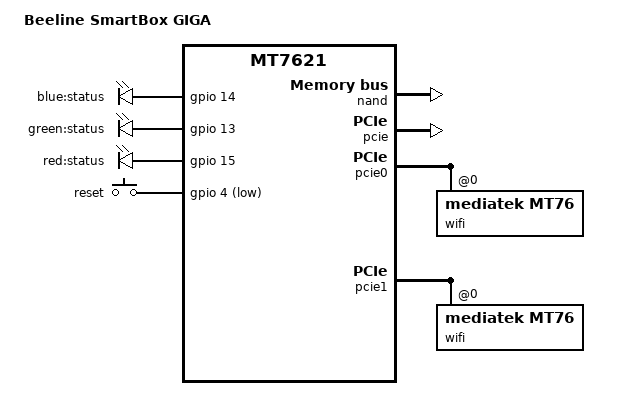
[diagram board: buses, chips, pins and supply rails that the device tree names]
// SPDX-License-Identifier: GPL-2.0-or-later OR MIT

#include "mt7621.dtsi"

#include <dt-bindings/gpio/gpio.h>
#include <dt-bindings/input/input.h>

/ {
	compatible = "beeline,smartbox-giga", "mediatek,mt7621-soc";
	model = "Beeline SmartBox GIGA";

	aliases {
		led-boot = &led_status_blue;
		led-failsafe = &led_status_red;
		led-running = &led_status_green;
		led-upgrade = &led_status_red;
		label-mac-device = &gmac0;
	};

	leds {
		compatible = "gpio-leds";

		led_status_blue: status_blue {
			label = "blue:status";
			gpios = <&gpio 14 GPIO_ACTIVE_HIGH>;
		};

		led_status_green: status_green {
			label = "green:status";
			gpios = <&gpio 13 GPIO_ACTIVE_HIGH>;
		};

		led_status_red: status_red {
			label = "red:status";
			gpios = <&gpio 15 GPIO_ACTIVE_HIGH>;
		};
	};

	keys {
		compatible = "gpio-keys";

		reset {
			label = "reset";
			gpios = <&gpio 4 GPIO_ACTIVE_LOW>;
			linux,code = <KEY_RESTART>;
		};
	};
};

&nand {
	status = "okay";

	partitions {
		compatible = "fixed-partitions";
		#address-cells = <1>;
		#size-cells = <1>;

		partition@0 {
			label = "u-boot";
			reg = <0x0 0x100000>;
			read-only;
		};

		partition@100000 {
			label = "dynamic partition map";
			reg = <0x100000 0x100000>;
		};

		factory: partition@200000 {
			label = "Factory";
			reg = <0x200000 0x100000>;
			read-only;
		};

		partition@300000 {
			label = "Boot Flag";
			reg = <0x300000 0x100000>;
		};

		partition@400000 {
			label = "kernel";
			reg = <0x400000 0x600000>;
		};

		partition@a00000 {
			label = "Kernel 2";
			reg = <0xa00000 0x600000>;
			read-only;
		};

		partition@1000000 {
			label = "ubi";
			reg = <0x1000000 0x6c00000>;
		};

		partition@7c00000 {
			label = "bad block reserved";
			reg = <0x7c00000 0x380000>;
			read-only;
		};
	};
};

&pcie {
	status = "okay";
};

&pcie0 {
	wifi@0,0 {
		compatible = "mediatek,mt76";
		reg = <0x0000 0 0 0 0>;
		mediatek,mtd-eeprom = <&factory 0x8000>;
		mtd-mac-address = <&factory 0x21000>;
		mtd-mac-address-increment = <5>;
		ieee80211-freq-limit = <5000000 6000000>;
	};
};

&pcie1 {
	wifi@0,0 {
		compatible = "mediatek,mt76";
		reg = <0x0000 0 0 0 0>;
		mediatek,mtd-eeprom = <&factory 0x0000>;
		mtd-mac-address = <&factory 0x21000>;
		mtd-mac-address-increment = <4>;
		ieee80211-freq-limit = <2400000 2500000>;
	};
};

&gmac0 {
	mtd-mac-address = <&factory 0x21000>;
};

&switch0 {
	ports {
		port@0 {
			status = "okay";
			label = "wan";
			mtd-mac-address = <&factory 0x21000>;
			mtd-mac-address-increment = <1>;
		};

		port@1 {
			status = "okay";
			label = "lan1";
		};

		port@2 {
			status = "okay";
			label = "lan2";
		};
	};
};

&state_default {
	gpio {
		groups = "jtag", "uart2", "uart3", "wdt";
		function = "gpio";
	};
};
